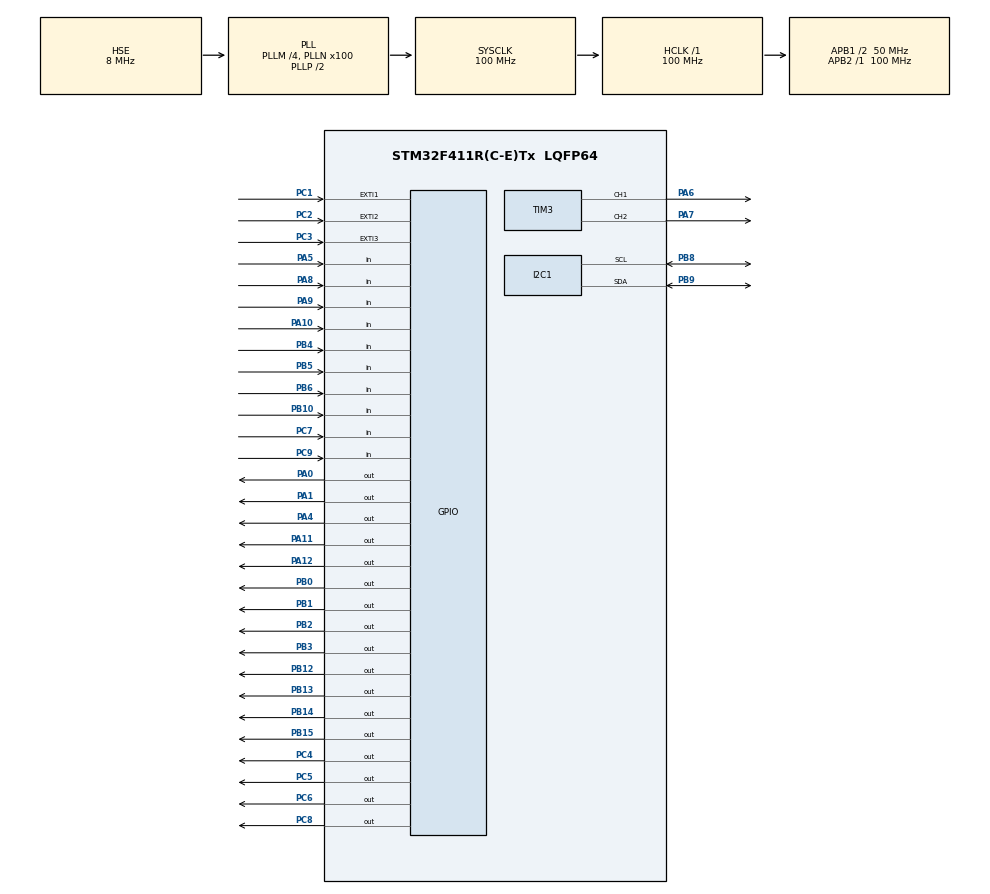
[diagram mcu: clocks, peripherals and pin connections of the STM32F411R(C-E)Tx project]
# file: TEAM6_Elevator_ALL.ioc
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Mcu.Family=STM32F4
Mcu.Name=STM32F411R(C-E)Tx
Mcu.Package=LQFP64
NVIC.EXTI1_IRQn=true\:0\:0\:false\:false\:true\:true\:true\:true
NVIC.EXTI2_IRQn=true\:0\:0\:false\:false\:true\:true\:true\:true
NVIC.EXTI3_IRQn=true\:0\:0\:false\:false\:true\:true\:true\:true
NVIC.PriorityGroup=NVIC_PRIORITYGROUP_4
PA0-WKUP.Signal=GPIO_Output
PA1.Signal=GPIO_Output
PA10.Signal=GPIO_Input
PA11.GPIO_Speed=GPIO_SPEED_FREQ_HIGH
PA11.PinState=GPIO_PIN_RESET
PA11.Signal=GPIO_Output
PA12.GPIO_Speed=GPIO_SPEED_FREQ_HIGH
PA12.Signal=GPIO_Output
PA13.Mode=Serial_Wire
PA13.Signal=SYS_JTMS-SWDIO
PA14.Mode=Serial_Wire
PA14.Signal=SYS_JTCK-SWCLK
PA4.Signal=GPIO_Output
PA5.Signal=GPIO_Input
PA6.Signal=S_TIM3_CH1
PA7.Signal=S_TIM3_CH2
PA8.Signal=GPIO_Input
PA9.Signal=GPIO_Input
PB0.Signal=GPIO_Output
PB1.Signal=GPIO_Output
PB10.Signal=GPIO_Input
PB12.GPIO_Speed=GPIO_SPEED_FREQ_HIGH
PB12.Signal=GPIO_Output
PB13.GPIO_Speed=GPIO_SPEED_FREQ_HIGH
PB13.Signal=GPIO_Output
PB14.Signal=GPIO_Output
PB15.Signal=GPIO_Output
PB2.Signal=GPIO_Output
PB3.GPIO_Speed=GPIO_SPEED_FREQ_HIGH
PB3.Signal=GPIO_Output
PB4.Signal=GPIO_Input
PB5.Signal=GPIO_Input
PB6.Signal=GPIO_Input
PB8.Mode=I2C
PB8.Signal=I2C1_SCL
PB9.Mode=I2C
PB9.Signal=I2C1_SDA
PC1.GPIO_ModeDefaultEXTI=GPIO_MODE_IT_FALLING
PC1.GPIO_PuPd=GPIO_PULLUP
PC1.Signal=GPXTI1
PC2.GPIO_ModeDefaultEXTI=GPIO_MODE_IT_FALLING
PC2.GPIO_PuPd=GPIO_PULLUP
PC2.Signal=GPXTI2
PC3.GPIO_ModeDefaultEXTI=GPIO_MODE_IT_FALLING
PC3.GPIO_PuPd=GPIO_PULLUP
PC3.Signal=GPXTI3
PC4.GPIO_Speed=GPIO_SPEED_FREQ_HIGH
PC4.Signal=GPIO_Output
PC5.GPIO_Speed=GPIO_SPEED_FREQ_HIGH
PC5.Signal=GPIO_Output
PC6.GPIO_Speed=GPIO_SPEED_FREQ_HIGH
PC6.Signal=GPIO_Output
PC7.Signal=GPIO_Input
PC8.GPIO_Speed=GPIO_SPEED_FREQ_HIGH
PC8.Signal=GPIO_Output
PC9.Signal=GPIO_Input
PH0\ -\ OSC_IN.Mode=HSE-External-Clock-Source
PH0\ -\ OSC_IN.Signal=RCC_OSC_IN
PH1\ -\ OSC_OUT.Mode=HSE-External-Clock-Source
PH1\ -\ OSC_OUT.Signal=RCC_OSC_OUT
ProjectManager.HeapSize=0x200
ProjectManager.StackSize=0x400
ProjectManager.TargetToolchain=STM32CubeIDE
RCC.48MHZClocksFreq_Value=50000000
RCC.AHBFreq_Value=100000000
RCC.APB1CLKDivider=RCC_HCLK_DIV2
RCC.APB1Freq_Value=50000000
RCC.APB1TimFreq_Value=100000000
RCC.APB2Freq_Value=100000000
RCC.APB2TimFreq_Value=100000000
RCC.CortexFreq_Value=100000000
RCC.HCLKFreq_Value=100000000
RCC.HSE_VALUE=8000000
RCC.HSI_VALUE=16000000
RCC.LSE_VALUE=32768
RCC.PLLM=4
RCC.PLLN=100
RCC.PLLSourceVirtual=RCC_PLLSOURCE_HSE
RCC.SYSCLKFreq_VALUE=100000000
RCC.SYSCLKSource=RCC_SYSCLKSOURCE_PLLCLK
RCC.VCOOutputFreq_Value=200000000
SH.S_TIM3_CH1.0=TIM3_CH1,PWM Generation1 CH1
SH.S_TIM3_CH2.0=TIM3_CH2,PWM Generation2 CH2
TIM11.Prescaler=100-1
TIM3.Channel-PWM\ Generation1\ CH1=TIM_CHANNEL_1
TIM3.Channel-PWM\ Generation2\ CH2=TIM_CHANNEL_2
VP_TIM11_VS_ClockSourceINT.Mode=Enable_Timer
board=custom

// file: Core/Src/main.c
/* USER CODE BEGIN Header */
/**
  ******************************************************************************
  * @file           : main.c
  * @brief          : Main program body
  ******************************************************************************
  * @attention
  *
  * Copyright (c) 2026 STMicroelectronics.
  * All rights reserved.
  *
  * This software is licensed under terms that can be found in the LICENSE file
  * in the root directory of this software component.
  * If no LICENSE file comes with this software, it is provided AS-IS.
  *
  ******************************************************************************
  */
/* USER CODE END Header */
#include "main.h"
#include "i2c.h"
#include "tim.h"
#include "gpio.h"

/* USER CODE BEGIN Includes */

#include "button.h"
#include "elevator.h"

/* USER CODE END Includes */

void SystemClock_Config(void);
/* USER CODE BEGIN PFP */

void HAL_GPIO_EXTI_Callback(uint16_t GPIO_Pin)
{
  if(GPIO_Pin == GPIO_PIN_1)
  {
    current_floor = 1;
  }
  else if(GPIO_Pin == GPIO_PIN_2)
    {
      current_floor = 2;
    }
  else if(GPIO_Pin == GPIO_PIN_3)
    {
      current_floor = 3;
    }
}

/* USER CODE END PFP */

int main(void)
{

  /* MCU Configuration--------------------------------------------------------*/

  /* Reset of all peripherals, Initializes the Flash interface and the Systick. */
  HAL_Init();

  /* Configure the system clock */
  SystemClock_Config();

  /* Initialize all configured peripherals */
  MX_GPIO_Init();
  MX_TIM11_Init();
  MX_I2C1_Init();
  MX_TIM3_Init();
  /* USER CODE BEGIN 2 */

  HAL_TIM_Base_Start(&htim11);

  SEVEN_SEG_Init();
  FND_Init();
  dataOut_LED(0x00);

  /* USER CODE END 2 */

  /* Infinite loop */
  /* USER CODE BEGIN WHILE */
  while (1)
  {
	  ELEVATOR_MOVE();
	  FND_ScanOnce();

    /* USER CODE END WHILE */

  }
}

void SystemClock_Config(void)
{
  RCC_OscInitTypeDef RCC_OscInitStruct = {0};
  RCC_ClkInitTypeDef RCC_ClkInitStruct = {0};

  /** Configure the main internal regulator output voltage
  */
  __HAL_RCC_PWR_CLK_ENABLE();
  __HAL_PWR_VOLTAGESCALING_CONFIG(PWR_REGULATOR_VOLTAGE_SCALE1);

  /** Initializes the RCC Oscillators according to the specified parameters
  * in the RCC_OscInitTypeDef structure.
  */
  RCC_OscInitStruct.OscillatorType = RCC_OSCILLATORTYPE_HSE;
  RCC_OscInitStruct.HSEState = RCC_HSE_BYPASS;
  RCC_OscInitStruct.PLL.PLLState = RCC_PLL_ON;
  RCC_OscInitStruct.PLL.PLLSource = RCC_PLLSOURCE_HSE;
  RCC_OscInitStruct.PLL.PLLM = 4;
  RCC_OscInitStruct.PLL.PLLN = 100;
  RCC_OscInitStruct.PLL.PLLP = RCC_PLLP_DIV2;
  RCC_OscInitStruct.PLL.PLLQ = 4;
  if (HAL_RCC_OscConfig(&RCC_OscInitStruct) != HAL_OK)
  {
    Error_Handler();
  }

  /** Initializes the CPU, AHB and APB buses clocks
  */
  RCC_ClkInitStruct.ClockType = RCC_CLOCKTYPE_HCLK|RCC_CLOCKTYPE_SYSCLK
                              |RCC_CLOCKTYPE_PCLK1|RCC_CLOCKTYPE_PCLK2;
  RCC_ClkInitStruct.SYSCLKSource = RCC_SYSCLKSOURCE_PLLCLK;
  RCC_ClkInitStruct.AHBCLKDivider = RCC_SYSCLK_DIV1;
  RCC_ClkInitStruct.APB1CLKDivider = RCC_HCLK_DIV2;
  RCC_ClkInitStruct.APB2CLKDivider = RCC_HCLK_DIV1;

  if (HAL_RCC_ClockConfig(&RCC_ClkInitStruct, FLASH_LATENCY_3) != HAL_OK)
  {
    Error_Handler();
  }
}

void Error_Handler(void)
{
  __disable_irq();
  while (1)
  {
  }
}
